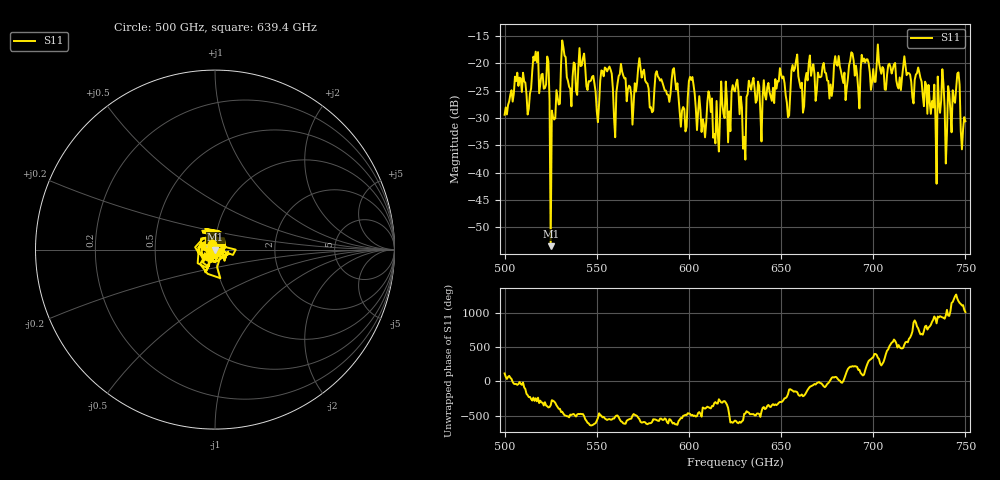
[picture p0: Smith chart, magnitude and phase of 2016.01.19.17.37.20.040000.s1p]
!Created with skrf (http://scikit-rf.org).
# GHz S RI R 50.0
!freq ReS11 ImS11
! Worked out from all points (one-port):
!   401 points, 500 GHz to 750 GHz, reference 50 ohm
!   lowest |S11| = -53.5 dB at 525 GHz (marker M1), VSWR 1.00, Z = 50.2 + j0.0492 ohm
!   |S11| at or under -10 dB: start of sweep to end of sweep
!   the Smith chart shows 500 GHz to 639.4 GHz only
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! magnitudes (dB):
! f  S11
! 500 GHz  -29.4
! 506.9 GHz  -21.7
! 513.1 GHz  -28.3
! 516.9 GHz  -17.9
! 523.1 GHz  -18.8
! 525 GHz  -53.5
! 526.2 GHz  -29.8
! 531.2 GHz  -15.8
! 535.6 GHz  -24.7
! 541.9 GHz  -20.4
! 550 GHz  -28.7
! 562.5 GHz  -22.0
! 593.8 GHz  -23.7
! 597.5 GHz  -28.4
! 601.2 GHz  -23.0
! 615 GHz  -26.9
! 625 GHz  -25.1
! 630 GHz  -33.5
! 633.8 GHz  -24.8
! 640 GHz  -26.1
! 650.6 GHz  -22.8
! 653.8 GHz  -29.9
! 656.2 GHz  -20.3
! 687.5 GHz  -19.5
! 718.8 GHz  -21.8
! 733.1 GHz  -23.9
! 745.6 GHz  -21.9
! 750 GHz  -30.6
